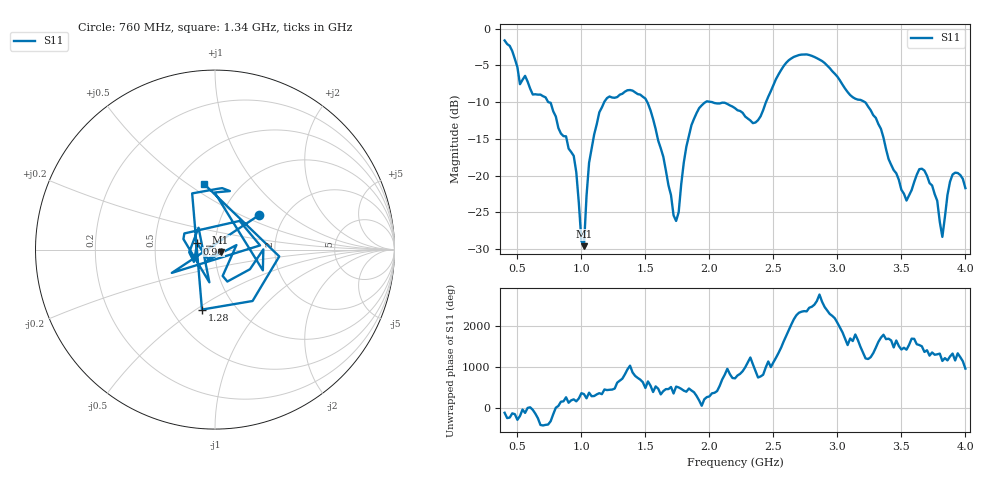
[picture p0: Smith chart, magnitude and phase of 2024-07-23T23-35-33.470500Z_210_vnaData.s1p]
!Created with skrf (http://scikit-rf.org).
# Hz S RI R 50.0
!freq ReS11 ImS11
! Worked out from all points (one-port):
!   181 points, 400 MHz to 4 GHz, reference 50 ohm
!   lowest |S11| = -29.6 dB at 1.02 GHz (marker M1), VSWR 1.07, Z = 53.1 - j1.33 ohm
!   |S11| at or under -10 dB: 739.8 MHz to 1.179 GHz (438.8 MHz wide, 45.7 % of centre); 1.514 GHz to 1.971 GHz (457.2 MHz wide, 26.2 % of centre); 3.213 GHz to end of sweep (the widest 3 of 4)
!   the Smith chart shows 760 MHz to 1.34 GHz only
!   S11 on the Smith chart (normalised r, x): 760 MHz: 1.49, +0.64; 960 MHz: 0.82, +0.06; 1.28 GHz: 0.70, -0.53; 1.34 GHz: 0.68, +0.58
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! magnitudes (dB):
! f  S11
! 400 MHz  -1.6
! 520 MHz  -7.6
! 760 MHz  -10.1
! 860 MHz  -14.6
! 960 MHz  -19.5
! 1 GHz  -28.9
! 1.02 GHz  -29.6
! 1.06 GHz  -18.3
! 1.1 GHz  -14.4
! 1.28 GHz  -9.3
! 1.3 GHz  -9.0
! 1.34 GHz  -8.6
! 1.52 GHz  -10.2
! 1.72 GHz  -25.4
! 1.76 GHz  -25.0
! 1.82 GHz  -16.1
! 1.92 GHz  -10.8
! 2.2 GHz  -10.8
! 2.36 GHz  -12.8
! 2.66 GHz  -3.9
! 3.1 GHz  -9.1
! 3.3 GHz  -12.2
! 3.56 GHz  -22.7
! 3.68 GHz  -19.3
! 3.78 GHz  -23.4
! 3.82 GHz  -28.3
! 3.9 GHz  -19.9
! 4 GHz  -21.7
